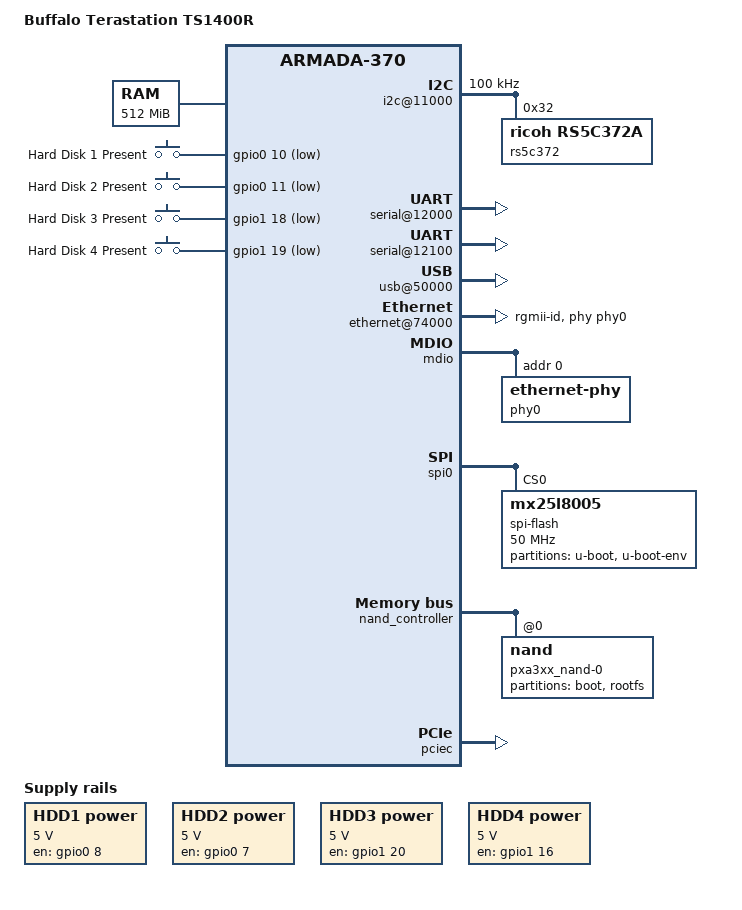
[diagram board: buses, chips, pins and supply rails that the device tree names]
// SPDX-License-Identifier: (GPL-2.0+ OR MIT)
/*
* Device Tree file for Buffalo Terastation TS1400R
*
* Jeremy J. Peper, based on device trees created by
* Steve Shih <shihsung@gmail.com> and Toha <tohenk@yahoo.com>
*
*/

/dts-v1/;

#include <dt-bindings/input/input.h>
#include <dt-bindings/gpio/gpio.h>
#include "armada-370.dtsi"

/ {
	model = "Buffalo Terastation TS1400R";
	compatible = "buffalo,ts1400r", "marvell,armada370", "marvell,armada-370-xp";

	chosen
	{
		bootargs = "earlyprintk boot=local";
		stdout-path = "serial0:115200n8";
	};

	memory
	{
		device_type = "memory";
		reg = <0x00000000 0x20000000>; /* 512 MB */
	};

	soc
	{
		ranges = <MBUS_ID(0xf0, 0x01) 0 0xd0000000 0x100000
			MBUS_ID(0x01, 0xe0) 0 0xfff00000 0x100000
			MBUS_ID(0x09, 0x01) 0 0xf1100000 0x10000>;

		internal-regs
		{
			rtc@10300
			{
				status = "disabled";
			};

			i2c@11000
			{
				status = "okay";
				clock-frequency = <100000>;

				rs5c372: rs5c372@32
				{
					compatible = "ricoh,rs5c372a";
					reg = <0x32>;
				};
			};

			serial@12000
			{
				status = "okay";
			};

			//microcontroller interface, see https://github.com/1000001101000/Python_buffalo_libmicon
			serial@12100
			{
				status = "okay";
			};

			timer@20300
			{
				status = "okay";
			};

			usb@50000
			{
				status = "okay";
			};

			ethernet@74000
			{
				status = "okay";
				phy = <&phy0>;
				phy-mode = "rgmii-id";
			};
		};
	};

	regulators
	{
		compatible = "simple-bus";
		#address-cells = <1>;
		#size-cells = <0>;
		pinctrl-0 = <&hdd_pwr1 &hdd_pwr2 &hdd_pwr3 &hdd_pwr4>;
		pinctrl-names = "default";

		regulator@1
		{
			compatible = "regulator-fixed";
			reg = <1>;
			regulator-name = "HDD1 power";
			regulator-min-microvolt = <5000000>;
			regulator-max-microvolt = <5000000>;
			enable-active-high;
			regulator-always-on;
			regulator-boot-on;
			gpio = <&gpio0 8 GPIO_ACTIVE_HIGH>;
		};

		regulator@2
		{
			compatible = "regulator-fixed";
			reg = <2>;
			regulator-name = "HDD2 power";
			regulator-min-microvolt = <5000000>;
			regulator-max-microvolt = <5000000>;
			enable-active-high;
			regulator-always-on;
			regulator-boot-on;
			gpio = <&gpio0 7 GPIO_ACTIVE_HIGH>;
		};

		regulator@3
		{
			compatible = "regulator-fixed";
			reg = <3>;
			regulator-name = "HDD3 power";
			regulator-min-microvolt = <5000000>;
			regulator-max-microvolt = <5000000>;
			enable-active-high;
			regulator-always-on;
			regulator-boot-on;
			gpio = <&gpio1 20 GPIO_ACTIVE_HIGH>;
		};

		regulator@4
		{
			compatible = "regulator-fixed";
			reg = <4>;
			regulator-name = "HDD4 power";
			regulator-min-microvolt = <5000000>;
			regulator-max-microvolt = <5000000>;
			enable-active-high;
			regulator-always-on;
			regulator-boot-on;
			gpio = <&gpio1 16 GPIO_ACTIVE_HIGH>;
		};
	};


	restart_poweroff
	{
		compatible = "restart-poweroff";
	};

	gpio-keys
	{
		compatible = "gpio-keys";
		pinctrl-0 = <&hdd1_present &hdd2_present &hdd3_present &hdd4_present>;
		pinctrl-names = "default";

		hdd1-present
		{
			label = "Hard Disk 1 Present";
			linux,code = <KEY_PROG1>;
			gpios = <&gpio0 10 GPIO_ACTIVE_LOW>;
		};

		hdd2-present
		{
			label = "Hard Disk 2 Present";
			linux,code = <KEY_PROG2>;
			gpios = <&gpio0 11 GPIO_ACTIVE_LOW>;

		};

		hdd3-present
		{
			label = "Hard Disk 3 Present";
			linux,code = <KEY_PROG3>;
			gpios = <&gpio1 18 GPIO_ACTIVE_LOW>;
		};

		hdd4-present
		{
			label = "Hard Disk 4 Present";
			linux,code = <KEY_PROG4>;
			gpios = <&gpio1 19 GPIO_ACTIVE_LOW>;
		};
	};

};

&mdio
{
	phy0: ethernet-phy@0
	{
		reg = <0>;
		marvell,reg-init = <0x3 0x10 0xf000 0x0881>;
	};
};

&spi0
{
	status = "okay";
	pinctrl-0 = <&spi0_pins2>;

	spi-flash@0
	{
		#address-cells = <1>;
		#size-cells = <1>;
		compatible = "mx25l8005", "jedec,spi-nor";
		reg = <0>;
		spi-max-frequency = <50000000>;

		partition@0
		{
			label = "u-boot";
			reg = <0x00000 0xf0000>;
			read-only;
		};

		partition@f0000
		{
			label = "u-boot-env";
			reg = <0xf0000 0x10000>;
			read-only;
		};
	};
};

&nand_controller
{
	status = "okay";

	nand@0
	{
		reg = <0>;
		label = "pxa3xx_nand-0";
		nand-rb = <0>;
		marvell,nand-keep-config;
		nand-on-flash-bbt;
		nand-ecc-strength = <4>;
		nand-ecc-step-size = <512>;
	
		partitions
		{
			compatible = "fixed-partitions";
			#address-cells = <1>;
			#size-cells = <1>;

			partition@0
			{
				label = "boot";
				reg = <0x00000000 0x02000000>;  /* 32MB */
			};

			partition@2000000
			{
				label = "rootfs";
				reg = <0x02000000 0x1e000000>;  /* 480MB */
			};
			
		};
	};
};

&pciec
{
	status = "okay";
	
	pcie@1,0
	{
		/* Port 0, Lane 0 */
		status = "okay";
	};

	pcie@2,0
	{
		/* Port 1, Lane 0 */
		status = "okay";
	};
};

&pinctrl
{

	hdd_pwr2: hdd-pwr2
	{
		marvell,pins = "mpp7";
		marvell,function = "gpo";
	};

	hdd_pwr1: hdd-pwr1
	{
		marvell,pins = "mpp8";
		marvell,function = "gpio";
	};

	hdd1_present: hdd1-present
	{
		marvell,pins = "mpp10";
		marvell,function = "gpio";
	};

	hdd2_present: hdd2-present
	{
		marvell,pins = "mpp11";
		marvell,function = "gpio";
	};

	hdd_pwr4: hdd-pwr4
	{
		marvell,pins = "mpp49";
		marvell,function = "gpio";
	};	

	hdd3_present: hdd3-present
	{
		marvell,pins = "mpp50";
		marvell,function = "gpio";
	};

	hdd4_present: hdd4-present
	{
		marvell,pins = "mpp51";
		marvell,function = "gpio";
	};

	hdd_pwr3: hdd-pwr3
	{
		marvell,pins = "mpp52";
		marvell,function = "gpio";	
	};

	uart1_pins: uart1-pins
	{
		marvell,pins = "mpp57", "mpp55";
		marvell,function = "uart1";
	};
};
&coherencyfab {broken-idle;};
